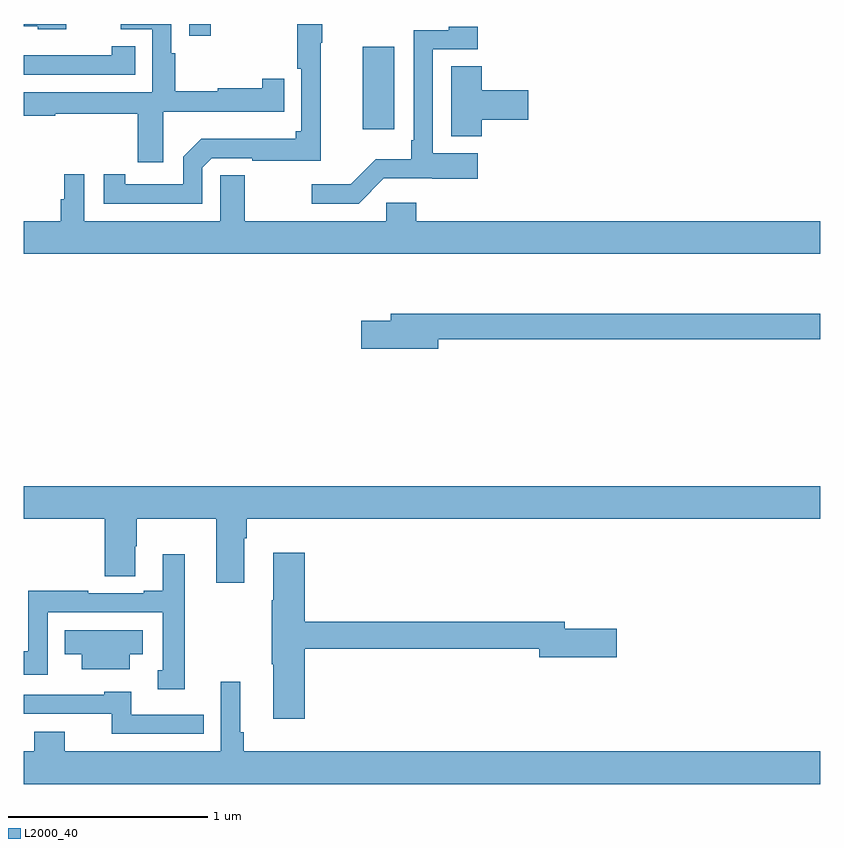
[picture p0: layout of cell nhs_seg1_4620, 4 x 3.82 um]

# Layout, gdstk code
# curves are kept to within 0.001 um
import gdstk
lib = gdstk.Library(unit=1e-6, precision=1e-09)
def R(c, l, rs):  # rectangles x0, y0, x1, y1
    for r in rs: c.add(gdstk.rectangle(r[:2], r[2:], *l))
def P(c, l, *ps):  # polygons
    for p in ps: c.add(gdstk.Polygon(p, *l))
L2000_40 = (2000, 40)

nhs_seg1_4620 = lib.new_cell('nhs_seg1_4620')
R(nhs_seg1_4620, L2000_40, [(362.702,573.669,362.86,574.084), (361.83,574.14,361.939,574.199)])
P(nhs_seg1_4620, L2000_40, [(361.699,573.758),(362.309,573.758),(362.309,573.925),(362.198,573.925),(362.198,573.875),(361.974,573.875),(361.974,573.86),(361.76,573.86),(361.76,574.052),(361.74,574.052),(361.74,574.199),(361.485,574.199),(361.485,574.173),(361.644,574.173),(361.644,573.855),(361,573.855),(361,573.739),(361.157,573.739),(361.157,573.747),(361.571,573.747),(361.571,573.504),(361.699,573.504)],
  [(361.213,574.199),(361,574.199),(361,574.188),(361.068,574.188),(361.068,574.172),(361.213,574.172)],
  [(361.896,573.477),(361.944,573.525),(362.147,573.525),(362.147,573.513),(362.492,573.513),(362.492,574.106),(362.498,574.106),(362.498,574.199),(362.374,574.199),(362.374,573.974),(362.394,573.974),(362.394,573.66),(362.366,573.66),(362.366,573.622),(361.891,573.622),(361.8,573.531),(361.8,573.393),(361.51,573.393),(361.51,573.445),(361.401,573.445),(361.401,573.297),(361.896,573.297)],
  [(362.809,573.423),(363.28,573.422),(363.28,573.55),(363.054,573.55),(363.054,574.071),(363.28,574.071),(363.28,574.186),(363.135,574.186),(363.135,574.167),(362.958,574.167),(362.958,573.616),(362.946,573.616),(362.946,573.52),(362.768,573.52),(362.642,573.394),(362.445,573.394),(362.445,573.297),(362.683,573.297)],
  [(361.559,574.088),(361.441,574.088),(361.441,574.042),(361,574.042),(361,573.945),(361.559,573.945)],
  [(363.299,573.719),(363.535,573.719),(363.535,573.866),(363.299,573.866),(363.299,573.986),(363.146,573.986),(363.146,573.635),(363.299,573.635)],
  [(365,573.208),(362.972,573.208),(362.972,573.301),(362.82,573.301),(362.82,573.208),(362.109,573.208),(362.109,573.44),(361.986,573.44),(361.986,573.208),(361.303,573.208),(361.303,573.445),(361.202,573.445),(361.202,573.318),(361.185,573.318),(361.185,573.208),(361,573.208),(361,573.044),(365,573.044)],
  [(363.082,572.614),(365,572.614),(365,572.743),(362.843,572.743),(362.843,572.709),(362.694,572.709),(362.694,572.567),(363.082,572.567)],
  [(362.107,571.616),(362.12,571.616),(362.12,571.712),(365,571.712),(365,571.876),(361,571.876),(361,571.712),(361.406,571.712),(361.406,571.423),(361.558,571.423),(361.558,571.574),(361.566,571.574),(361.566,571.712),(361.967,571.712),(361.967,571.392),(362.107,571.392)],
  [(362.411,571.06),(363.59,571.06),(363.59,571.018),(363.979,571.018),(363.979,571.16),(363.718,571.16),(363.718,571.196),(362.411,571.196),(362.411,571.543),(362.252,571.543),(362.252,571.304),(362.245,571.304),(362.245,570.983),(362.252,570.983),(362.252,570.708),(362.411,570.708)],
  [(361.807,571.534),(361.697,571.534),(361.697,571.351),(361.601,571.351),(361.601,571.338),(361.322,571.338),(361.322,571.351),(361.021,571.351),(361.021,571.046),(361,571.046),(361,570.93),(361.119,570.93),(361.119,571.242),(361.698,571.242),(361.698,570.951),(361.673,570.951),(361.673,570.857),(361.807,570.857)],
  [(361.531,571.031),(361.597,571.031),(361.597,571.153),(361.204,571.153),(361.204,571.031),(361.289,571.031),(361.289,570.956),(361.531,570.956)],
  [(365,570.544),(362.105,570.544),(362.105,570.64),(362.086,570.64),(362.086,570.895),(361.989,570.895),(361.989,570.544),(361.204,570.544),(361.204,570.643),(361.052,570.643),(361.052,570.544),(361,570.544),(361,570.38),(365,570.38)],
  [(361.904,570.729),(361.54,570.729),(361.54,570.844),(361.404,570.844),(361.404,570.828),(361,570.828),(361,570.732),(361.441,570.732),(361.441,570.633),(361.904,570.633)])

lib.write_gds('nhs_seg1_4620.gds')
